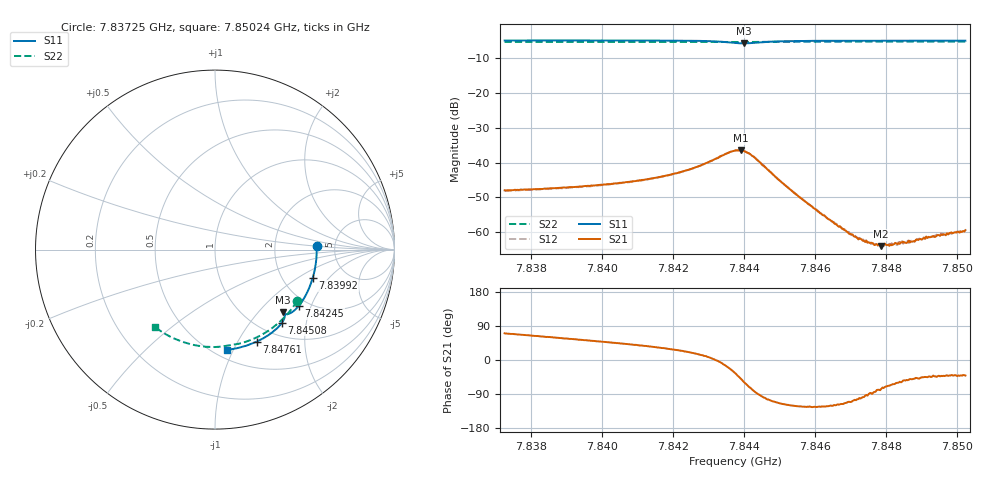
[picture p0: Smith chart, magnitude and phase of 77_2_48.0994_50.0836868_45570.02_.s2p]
#  HZ  S  RI  R  50.00
! Rohde & Schwarz Vector Network Analyzer
! Rohde-Schwarz,ZNB20-2Port,1311601062101988,3.16
! Created: UTC 12/23/2023, 3:42:23 AM
! freq[Hz]  re:S11  im:S11  re:S21  im:S21  re:S12  im:S12  re:S22  im:S22
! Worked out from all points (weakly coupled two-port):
!   401 points, 7.83725 GHz to 7.85024 GHz, reference 50 ohm
!   highest |S21| = -36.45 dB at 7.84391 GHz (marker M1); lowest = -64.0 dB at 7.84787 GHz (marker M2)
!   lowest |S11| = -5.8 dB at 7.84401 GHz (marker M3), VSWR 3.12, Z = 72.5 - j68.8 ohm
!   |S11| at or under -10 dB: nowhere
!   |S22| runs from -5.4 to -5.3 dB; largest |S21 - S12| = 0.00028
!   S11 on the Smith chart (normalised r, x): 7.83725 GHz: 3.60, +0.20; 7.83992 GHz: 2.92, -1.36; 7.84245 GHz: 1.78, -1.64; 7.84508 GHz: 1.25, -1.46; 7.84761 GHz: 0.80, -1.21; 7.85024 GHz: 0.58, -0.94
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7.837254e9  0.5661 0.0184  0.00133 0.00376  0.00134 0.00368  0.4581 -0.2856
7.83943e9  0.5529 -0.1255  0.0027 0.00362  0.00267 0.00358  0.3608 -0.4024
7.839916e9  0.5446 -0.1574  0.00313 0.00358  0.00307 0.00357  0.3348 -0.4246
7.841605e9  0.5001 -0.264  0.00519 0.00335  0.00515 0.00333  0.2349 -0.4879
7.842449e9  0.4659 -0.3145  0.00741 0.00279  0.00734 0.0028  0.1799 -0.5108
7.84326e9  0.417 -0.3553  0.0115 -0.000488  0.0117 -0.000535  0.125 -0.526
7.843747e9  0.3824 -0.3562  0.0123 -0.00831  0.0122 -0.00841  0.0923 -0.5315
7.84391e9  0.3786 -0.3507  0.00981 -0.0114  0.00984 -0.0112  0.082 -0.5328
7.844007e9  0.3792 -0.3485  0.00758 -0.0125  0.00774 -0.0125  0.0759 -0.5338
7.844332e9  0.3882 -0.3564  0.000846 -0.0113  0.000987 -0.0114  0.0548 -0.5376
7.845078e9  0.3738 -0.4062  -0.00222 -0.00459  -0.00221 -0.00463  0.00282 -0.5428
7.845923e9  0.3318 -0.4508  -0.00131 -0.00191  -0.00127 -0.00197  -0.0568 -0.5408
7.846961e9  0.2728 -0.4918  -0.000327 -0.000893  -0.000349 -0.000942  -0.1288 -0.5289
7.847286e9  0.2535 -0.5024  -0.000161 -0.00079  -0.000135 -0.000772  -0.1511 -0.5233
7.847611e9  0.2338 -0.512  4.96e-06 -0.000701  2.35e-05 -0.000681  -0.1729 -0.5166
7.847871e9  0.2178 -0.519  0.000149 -0.000611  0.000151 -0.000647  -0.19 -0.5107
7.848098e9  0.2037 -0.525  0.00024 -0.000588  0.000265 -0.000626  -0.2051 -0.5051
7.84826e9  0.1935 -0.5288  0.000323 -0.000623  0.00034 -0.000599  -0.2156 -0.5005
7.848715e9  0.1645 -0.5385  0.000466 -0.000568  0.000468 -0.000589  -0.2446 -0.4876
7.849007e9  0.1458 -0.5439  0.000546 -0.000557  0.000584 -0.000585  -0.2627 -0.478
7.849494e9  0.1142 -0.5511  0.000679 -0.000601  0.000652 -0.000644  -0.2922 -0.4611
7.85024e9  0.0651 -0.5588  0.000806 -0.000702  0.000788 -0.000671  -0.3353 -0.4313
